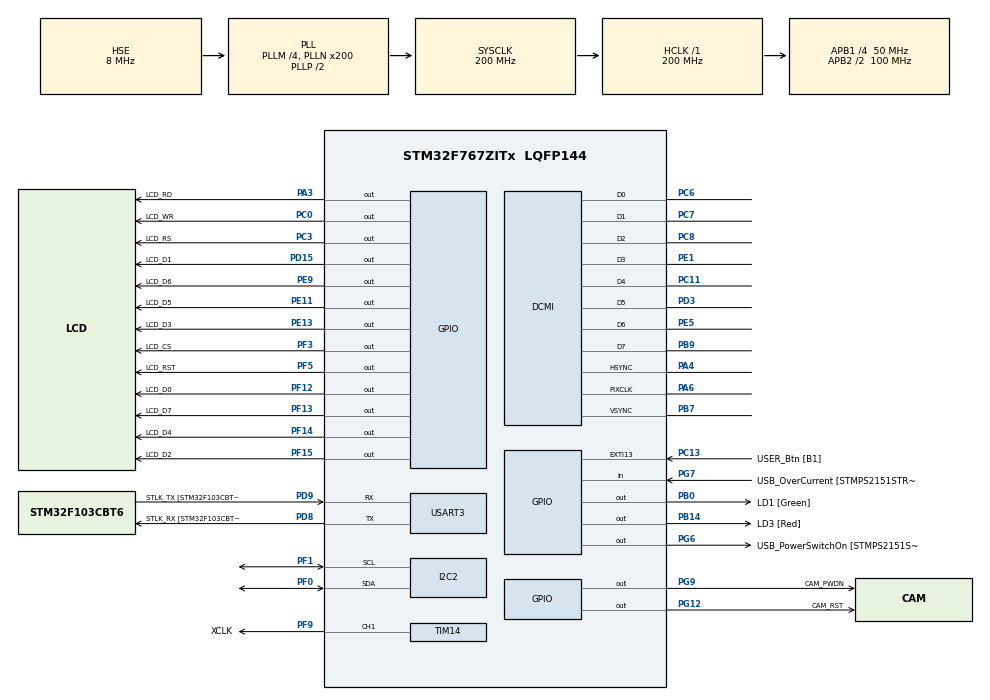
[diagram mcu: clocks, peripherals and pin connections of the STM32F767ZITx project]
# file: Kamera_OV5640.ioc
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CORTEX_M7.AccessPermission-Cortex_Memory_Protection_Unit_Region0_Settings=MPU_REGION_FULL_ACCESS
CORTEX_M7.AccessPermission-Cortex_Memory_Protection_Unit_Region1_Settings=MPU_REGION_FULL_ACCESS
CORTEX_M7.BaseAddress-Cortex_Memory_Protection_Unit_Region0_Settings=0x20040000
CORTEX_M7.BaseAddress-Cortex_Memory_Protection_Unit_Region1_Settings=0x20040000
CORTEX_M7.CPU_DCache=Enabled
CORTEX_M7.CPU_ICache=Enabled
CORTEX_M7.DisableExec-Cortex_Memory_Protection_Unit_Region0_Settings=MPU_INSTRUCTION_ACCESS_DISABLE
CORTEX_M7.DisableExec-Cortex_Memory_Protection_Unit_Region1_Settings=MPU_INSTRUCTION_ACCESS_DISABLE
CORTEX_M7.Enable-Cortex_Memory_Protection_Unit_Region0_Settings=MPU_REGION_ENABLE
CORTEX_M7.Enable-Cortex_Memory_Protection_Unit_Region1_Settings=MPU_REGION_ENABLE
CORTEX_M7.FlashInterface=AXI_Enabled
CORTEX_M7.IsBufferable-Cortex_Memory_Protection_Unit_Region1_Settings=MPU_ACCESS_BUFFERABLE
CORTEX_M7.IsShareable-Cortex_Memory_Protection_Unit_Region1_Settings=MPU_ACCESS_SHAREABLE
CORTEX_M7.MPU_Control=MPU_PRIVILEGED_DEFAULT
CORTEX_M7.Size-Cortex_Memory_Protection_Unit_Region0_Settings=MPU_REGION_SIZE_32KB
CORTEX_M7.Size-Cortex_Memory_Protection_Unit_Region1_Settings=MPU_REGION_SIZE_256B
CORTEX_M7.TypeExtField-Cortex_Memory_Protection_Unit_Region0_Settings=MPU_TEX_LEVEL1
DCMI.HSPolarity=DCMI_HSPOLARITY_HIGH
DCMI.JPEGMode=DCMI_JPEG_DISABLE
DCMI.PCKPolarity=DCMI_PCKPOLARITY_FALLING
DCMI.VSPolarity=DCMI_VSPOLARITY_LOW
Dma.DCMI.0.Direction=DMA_PERIPH_TO_MEMORY
Dma.DCMI.0.FIFOMode=DMA_FIFOMODE_DISABLE
Dma.DCMI.0.Instance=DMA2_Stream1
Dma.DCMI.0.MemDataAlignment=DMA_MDATAALIGN_WORD
Dma.DCMI.0.MemInc=DMA_MINC_ENABLE
Dma.DCMI.0.Mode=DMA_NORMAL
Dma.DCMI.0.PeriphDataAlignment=DMA_PDATAALIGN_WORD
Dma.DCMI.0.PeriphInc=DMA_PINC_DISABLE
Dma.DCMI.0.Priority=DMA_PRIORITY_LOW
Dma.Request0=DCMI
FREERTOS.Tasks01=defaultTask,0,128,StartDefaultTask,Default,NULL,Dynamic,NULL,NULL
FREERTOS.configUSE_NEWLIB_REENTRANT=1
I2C2.Timing=0x00C0EAFF
Mcu.Family=STM32F7
Mcu.Name=STM32F767ZITx
Mcu.Package=LQFP144
NVIC.DCMI_IRQn=true\:5\:0\:false\:false\:true\:true\:true\:true\:true
NVIC.DMA2_Stream1_IRQn=true\:5\:0\:false\:false\:true\:true\:false\:true\:true
NVIC.EXTI15_10_IRQn=true\:5\:0\:false\:false\:true\:true\:true\:true\:true
NVIC.PriorityGroup=NVIC_PRIORITYGROUP_4
NVIC.TIM6_DAC_IRQn=true\:15\:0\:false\:false\:true\:false\:false\:true\:true
NVIC.TimeBase=TIM6_DAC_IRQn
NVIC.TimeBaseIP=TIM6
PA1.GPIO_Label=RMII_REF_CLK [LAN8742A-CZ-TR_REFCLK0]
PA1.Signal=ETH_REF_CLK
PA10.GPIO_Label=USB_ID
PA10.Signal=USB_OTG_FS_ID
PA11.GPIO_Label=USB_DM
PA11.Signal=USB_OTG_FS_DM
PA12.GPIO_Label=USB_DP
PA12.Signal=USB_OTG_FS_DP
PA13.GPIO_Label=TMS
PA13.Mode=Serial_Wire
PA13.Signal=SYS_JTMS-SWDIO
PA14.GPIO_Label=TCK
PA14.Mode=Serial_Wire
PA14.Signal=SYS_JTCK-SWCLK
PA2.GPIO_Label=RMII_MDIO [LAN8742A-CZ-TR_MDIO]
PA2.Signal=ETH_MDIO
PA3.GPIO_Label=LCD_RD
PA3.Signal=GPIO_Output
PA4.GPIO_PuPd=GPIO_PULLUP
PA4.GPIO_Speed=GPIO_SPEED_FREQ_HIGH
PA4.Mode=Slave_8_bits_External_Synchro
PA4.Signal=DCMI_HSYNC
PA6.GPIO_PuPd=GPIO_PULLUP
PA6.GPIO_Speed=GPIO_SPEED_FREQ_HIGH
PA6.Mode=Slave_8_bits_External_Synchro
PA6.Signal=DCMI_PIXCLK
PA7.GPIO_Label=RMII_CRS_DV [LAN8742A-CZ-TR_CRS_DV]
PA7.Signal=ETH_CRS_DV
PA8.GPIO_Label=USB_SOF [TP1]
PA8.Signal=USB_OTG_FS_SOF
PA9.GPIO_Label=USB_VBUS
PA9.Signal=USB_OTG_FS_VBUS
PB0.GPIO_Label=LD1 [Green]
PB0.Signal=GPIO_Output
PB13.GPIO_Label=RMII_TXD1 [LAN8742A-CZ-TR_TXD1]
PB13.Signal=ETH_TXD1
PB14.GPIO_Label=LD3 [Red]
PB14.Signal=GPIO_Output
PB3.GPIO_Label=SWO
PB3.Signal=SYS_JTDO-SWO
PB7.GPIO_PuPd=GPIO_PULLUP
PB7.GPIO_Speed=GPIO_SPEED_FREQ_HIGH
PB7.Mode=Slave_8_bits_External_Synchro
PB7.Signal=DCMI_VSYNC
PB9.GPIO_PuPd=GPIO_PULLUP
PB9.GPIO_Speed=GPIO_SPEED_FREQ_HIGH
PB9.Mode=Slave_8_bits_External_Synchro
PB9.Signal=DCMI_D7
PC0.GPIO_Label=LCD_WR
PC0.Signal=GPIO_Output
PC1.GPIO_Label=RMII_MDC [LAN8742A-CZ-TR_MDC]
PC1.Signal=ETH_MDC
PC11.GPIO_PuPd=GPIO_PULLUP
PC11.GPIO_Speed=GPIO_SPEED_FREQ_HIGH
PC11.Mode=Slave_8_bits_External_Synchro
PC11.Signal=DCMI_D4
PC13.GPIO_Label=USER_Btn [B1]
PC13.GPIO_ModeDefaultEXTI=GPIO_MODE_IT_FALLING
PC13.Signal=GPXTI13
PC14/OSC32_IN.Mode=LSE-External-Oscillator
PC14/OSC32_IN.Signal=RCC_OSC32_IN
PC15/OSC32_OUT.Mode=LSE-External-Oscillator
PC15/OSC32_OUT.Signal=RCC_OSC32_OUT
PC3.GPIO_Label=LCD_RS
PC3.Signal=GPIO_Output
PC4.GPIO_Label=RMII_RXD0 [LAN8742A-CZ-TR_RXD0]
PC4.Signal=ETH_RXD0
PC5.GPIO_Label=RMII_RXD1 [LAN8742A-CZ-TR_RXD1]
PC5.Signal=ETH_RXD1
PC6.GPIO_PuPd=GPIO_PULLUP
PC6.GPIO_Speed=GPIO_SPEED_FREQ_HIGH
PC6.Mode=Slave_8_bits_External_Synchro
PC6.Signal=DCMI_D0
PC7.GPIO_PuPd=GPIO_PULLUP
PC7.GPIO_Speed=GPIO_SPEED_FREQ_HIGH
PC7.Mode=Slave_8_bits_External_Synchro
PC7.Signal=DCMI_D1
PC8.GPIO_PuPd=GPIO_PULLUP
PC8.GPIO_Speed=GPIO_SPEED_FREQ_HIGH
PC8.Mode=Slave_8_bits_External_Synchro
PC8.Signal=DCMI_D2
PD15.GPIO_Label=LCD_D1
PD15.Signal=GPIO_Output
PD3.GPIO_PuPd=GPIO_PULLUP
PD3.GPIO_Speed=GPIO_SPEED_FREQ_HIGH
PD3.Mode=Slave_8_bits_External_Synchro
PD3.Signal=DCMI_D5
PD8.GPIO_Label=STLK_RX [STM32F103CBT6_PA3]
PD8.Mode=Asynchronous
PD8.Signal=USART3_TX
PD9.GPIO_Label=STLK_TX [STM32F103CBT6_PA2]
PD9.Mode=Asynchronous
PD9.Signal=USART3_RX
PE1.GPIO_PuPd=GPIO_PULLUP
PE1.GPIO_Speed=GPIO_SPEED_FREQ_HIGH
PE1.Mode=Slave_8_bits_External_Synchro
PE1.Signal=DCMI_D3
PE11.GPIO_Label=LCD_D5
PE11.Signal=GPIO_Output
PE13.GPIO_Label=LCD_D3
PE13.Signal=GPIO_Output
PE5.GPIO_PuPd=GPIO_PULLUP
PE5.GPIO_Speed=GPIO_SPEED_FREQ_HIGH
PE5.Mode=Slave_8_bits_External_Synchro
PE5.Signal=DCMI_D6
PE9.GPIO_Label=LCD_D6
PE9.Signal=GPIO_Output
PF0.Mode=I2C
PF0.Signal=I2C2_SDA
PF1.Mode=I2C
PF1.Signal=I2C2_SCL
PF12.GPIO_Label=LCD_D0
PF12.Signal=GPIO_Output
PF13.GPIO_Label=LCD_D7
PF13.Signal=GPIO_Output
PF14.GPIO_Label=LCD_D4
PF14.Signal=GPIO_Output
PF15.GPIO_Label=LCD_D2
PF15.Signal=GPIO_Output
PF3.GPIO_Label=LCD_CS
PF3.Signal=GPIO_Output
PF5.GPIO_Label=LCD_RST
PF5.Signal=GPIO_Output
PF9.GPIO_Label=XCLK
PF9.GPIO_Speed=GPIO_SPEED_FREQ_HIGH
PF9.Signal=S_TIM14_CH1
PG11.GPIO_Label=RMII_TX_EN [LAN8742A-CZ-TR_TXEN]
PG11.Signal=ETH_TX_EN
PG12.GPIO_Label=CAM_RST
PG12.Signal=GPIO_Output
PG13.GPIO_Label=RMII_TXD0 [LAN8742A-CZ-TR_TXD0]
PG13.Signal=ETH_TXD0
PG6.GPIO_Label=USB_PowerSwitchOn [STMPS2151STR_EN]
PG6.Signal=GPIO_Output
PG7.GPIO_Label=USB_OverCurrent [STMPS2151STR_FAULT]
PG7.Signal=GPIO_Input
PG9.GPIO_Label=CAM_PWDN
PG9.Signal=GPIO_Output
PH0/OSC_IN.GPIO_Label=MCO [STM32F103CBT6_PA8]
PH0/OSC_IN.Mode=HSE-External-Clock-Source
PH0/OSC_IN.Signal=RCC_OSC_IN
PH1/OSC_OUT.Mode=HSE-External-Clock-Source
PH1/OSC_OUT.Signal=RCC_OSC_OUT
ProjectManager.HeapSize=0x800
ProjectManager.StackSize=0x800
ProjectManager.TargetToolchain=STM32CubeIDE
RCC.48MHZClocksFreq_Value=24000000
RCC.AHBFreq_Value=200000000
RCC.APB1CLKDivider=RCC_HCLK_DIV4
RCC.APB1Freq_Value=50000000
RCC.APB1TimFreq_Value=100000000
RCC.APB2CLKDivider=RCC_HCLK_DIV2
RCC.APB2Freq_Value=100000000
RCC.APB2TimFreq_Value=200000000
RCC.CortexFreq_Value=200000000
RCC.HCLKFreq_Value=200000000
RCC.HSE_VALUE=8000000
RCC.HSI_VALUE=16000000
RCC.PLLM=4
RCC.PLLMUL=RCC_PLL_MUL9
RCC.PLLN=200
RCC.PLLQ=9
RCC.PLLSourceVirtual=RCC_PLLSOURCE_HSE
RCC.PRESCALERUSB=RCC_USBCLKSOURCE_PLL_DIV1_5
RCC.SYSCLKFreq_VALUE=200000000
RCC.SYSCLKSource=RCC_SYSCLKSOURCE_PLLCLK
RCC.SYSCLKSourceVirtual=RCC_SYSCLKSOURCE_PLLCLK
RCC.USBFreq_Value=44444444.44444445
RCC.VCOOutputFreq_Value=400000000
SH.S_TIM14_CH1.0=TIM14_CH1,PWM Generation1 CH1
TIM14.Channel=TIM_CHANNEL_1
USART3.VirtualMode-Asynchronous=VM_ASYNC
VP_FREERTOS_VS_CMSIS_V1.Mode=CMSIS_V1
VP_SYS_VS_tim6.Mode=TIM6
VP_TIM14_VS_ClockSourceINT.Mode=Enable_Timer
board=NUCLEO-F767ZI

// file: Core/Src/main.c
/* USER CODE BEGIN Header */
//////////////////////////////////////////////////////////////////////////////
//
// Kamera OV5640
// Moduł pętli głównej
//
// (c) PitLab 2024
// http://www.pitlab.pl
//////////////////////////////////////////////////////////////////////////////
/* USER CODE END Header */
#include "main.h"
#include "cmsis_os.h"

/* USER CODE BEGIN Includes */
#include "display.h"
#include "errcode.h"
/* USER CODE END Includes */

DCMI_HandleTypeDef hdcmi;
DMA_HandleTypeDef hdma_dcmi;

I2C_HandleTypeDef hi2c2;

TIM_HandleTypeDef htim14;

UART_HandleTypeDef huart3;

osThreadId defaultTaskHandle;
/* USER CODE BEGIN PV */
uint8_t chTrybPracy = TP_MENU;
uint8_t chPozycjaMenu = -1;
uint16_t sMenuTimer = 3000;
uint8_t chStanPrzycisku = BUTTON_PRESSED;
volatile uint8_t chTimerDrganiaStykow;
uint16_t sSzerokoscKamery = 21;
/* USER CODE END PV */

void SystemClock_Config(void);
static void MPU_Config(void);
static void MX_GPIO_Init(void);
static void MX_DMA_Init(void);
static void MX_I2C2_Init(void);
static void MX_TIM14_Init(void);
static void MX_USART3_UART_Init(void);
static void MX_DCMI_Init(void);
void StartDefaultTask(void const * argument);

int main(void)
{

  /* MPU Configuration--------------------------------------------------------*/
  //MPU_Config();

  /* Enable the CPU Cache */

  /* Enable I-Cache---------------------------------------------------------*/
  SCB_EnableICache();

  /* Enable D-Cache---------------------------------------------------------*/
  SCB_EnableDCache();

  /* MCU Configuration--------------------------------------------------------*/

  /* Reset of all peripherals, Initializes the Flash interface and the Systick. */
  HAL_Init();

  /* Configure the system clock */
  SystemClock_Config();

  /* Initialize all configured peripherals */
  MX_GPIO_Init();
  MX_DMA_Init();
  MX_I2C2_Init();
  MX_TIM14_Init();
  MX_USART3_UART_Init();
  MX_DCMI_Init();

  /* Create the thread(s) */
  /* definition and creation of defaultTask */
  osThreadDef(defaultTask, StartDefaultTask, osPriorityNormal, 0, 128);
  defaultTaskHandle = osThreadCreate(osThread(defaultTask), NULL);

  /* Start scheduler */
  osKernelStart();

  /* We should never get here as control is now taken by the scheduler */

  /* Infinite loop */
  while (1)
  {

  }
}

void SystemClock_Config(void)
{
  RCC_OscInitTypeDef RCC_OscInitStruct = {0};
  RCC_ClkInitTypeDef RCC_ClkInitStruct = {0};

  /** Configure LSE Drive Capability
  */
  HAL_PWR_EnableBkUpAccess();

  /** Configure the main internal regulator output voltage
  */
  __HAL_RCC_PWR_CLK_ENABLE();
  __HAL_PWR_VOLTAGESCALING_CONFIG(PWR_REGULATOR_VOLTAGE_SCALE1);

  /** Initializes the RCC Oscillators according to the specified parameters
  * in the RCC_OscInitTypeDef structure.
  */
  RCC_OscInitStruct.OscillatorType = RCC_OSCILLATORTYPE_HSE;
  RCC_OscInitStruct.HSEState = RCC_HSE_BYPASS;
  RCC_OscInitStruct.PLL.PLLState = RCC_PLL_ON;
  RCC_OscInitStruct.PLL.PLLSource = RCC_PLLSOURCE_HSE;
  RCC_OscInitStruct.PLL.PLLM = 4;
  RCC_OscInitStruct.PLL.PLLN = 200;
  RCC_OscInitStruct.PLL.PLLP = RCC_PLLP_DIV2;
  RCC_OscInitStruct.PLL.PLLQ = 9;
  RCC_OscInitStruct.PLL.PLLR = 2;
  if (HAL_RCC_OscConfig(&RCC_OscInitStruct) != HAL_OK)
  {
    Error_Handler();
  }

  /** Activate the Over-Drive mode
  */
  if (HAL_PWREx_EnableOverDrive() != HAL_OK)
  {
    Error_Handler();
  }

  /** Initializes the CPU, AHB and APB buses clocks
  */
  RCC_ClkInitStruct.ClockType = RCC_CLOCKTYPE_HCLK|RCC_CLOCKTYPE_SYSCLK
                              |RCC_CLOCKTYPE_PCLK1|RCC_CLOCKTYPE_PCLK2;
  RCC_ClkInitStruct.SYSCLKSource = RCC_SYSCLKSOURCE_PLLCLK;
  RCC_ClkInitStruct.AHBCLKDivider = RCC_SYSCLK_DIV1;
  RCC_ClkInitStruct.APB1CLKDivider = RCC_HCLK_DIV4;
  RCC_ClkInitStruct.APB2CLKDivider = RCC_HCLK_DIV2;

  if (HAL_RCC_ClockConfig(&RCC_ClkInitStruct, FLASH_LATENCY_6) != HAL_OK)
  {
    Error_Handler();
  }
}

static void MX_DCMI_Init(void)
{

  hdcmi.Instance = DCMI;
  hdcmi.Init.SynchroMode = DCMI_SYNCHRO_HARDWARE;
  hdcmi.Init.PCKPolarity = DCMI_PCKPOLARITY_FALLING;
  hdcmi.Init.VSPolarity = DCMI_VSPOLARITY_LOW;
  hdcmi.Init.HSPolarity = DCMI_HSPOLARITY_HIGH;
  hdcmi.Init.CaptureRate = DCMI_CR_ALL_FRAME;
  hdcmi.Init.ExtendedDataMode = DCMI_EXTEND_DATA_8B;
  hdcmi.Init.JPEGMode = DCMI_JPEG_DISABLE;
  hdcmi.Init.ByteSelectMode = DCMI_BSM_ALL;
  hdcmi.Init.ByteSelectStart = DCMI_OEBS_ODD;
  hdcmi.Init.LineSelectMode = DCMI_LSM_ALL;
  hdcmi.Init.LineSelectStart = DCMI_OELS_ODD;
  if (HAL_DCMI_Init(&hdcmi) != HAL_OK)
  {
    Error_Handler();
  }

}

static void MX_I2C2_Init(void)
{

  hi2c2.Instance = I2C2;
  hi2c2.Init.Timing = 0x00C0EAFF;
  hi2c2.Init.OwnAddress1 = 0;
  hi2c2.Init.AddressingMode = I2C_ADDRESSINGMODE_7BIT;
  hi2c2.Init.DualAddressMode = I2C_DUALADDRESS_DISABLE;
  hi2c2.Init.OwnAddress2 = 0;
  hi2c2.Init.OwnAddress2Masks = I2C_OA2_NOMASK;
  hi2c2.Init.GeneralCallMode = I2C_GENERALCALL_DISABLE;
  hi2c2.Init.NoStretchMode = I2C_NOSTRETCH_DISABLE;
  if (HAL_I2C_Init(&hi2c2) != HAL_OK)
  {
    Error_Handler();
  }

  /** Configure Analogue filter
  */
  if (HAL_I2CEx_ConfigAnalogFilter(&hi2c2, I2C_ANALOGFILTER_ENABLE) != HAL_OK)
  {
    Error_Handler();
  }

  /** Configure Digital filter
  */
  if (HAL_I2CEx_ConfigDigitalFilter(&hi2c2, 0) != HAL_OK)
  {
    Error_Handler();
  }

}

static void MX_TIM14_Init(void)
{

  TIM_OC_InitTypeDef sConfigOC = {0};

  htim14.Instance = TIM14;
  htim14.Init.Prescaler = 0;
  htim14.Init.CounterMode = TIM_COUNTERMODE_UP;
  htim14.Init.Period = 65535;
  htim14.Init.ClockDivision = TIM_CLOCKDIVISION_DIV1;
  htim14.Init.AutoReloadPreload = TIM_AUTORELOAD_PRELOAD_DISABLE;
  if (HAL_TIM_Base_Init(&htim14) != HAL_OK)
  {
    Error_Handler();
  }
  if (HAL_TIM_PWM_Init(&htim14) != HAL_OK)
  {
    Error_Handler();
  }
  sConfigOC.OCMode = TIM_OCMODE_PWM1;
  sConfigOC.Pulse = 0;
  sConfigOC.OCPolarity = TIM_OCPOLARITY_HIGH;
  sConfigOC.OCFastMode = TIM_OCFAST_DISABLE;
  if (HAL_TIM_PWM_ConfigChannel(&htim14, &sConfigOC, TIM_CHANNEL_1) != HAL_OK)
  {
    Error_Handler();
  }
  HAL_TIM_MspPostInit(&htim14);

}

static void MX_USART3_UART_Init(void)
{

  huart3.Instance = USART3;
  huart3.Init.BaudRate = 115200;
  huart3.Init.WordLength = UART_WORDLENGTH_8B;
  huart3.Init.StopBits = UART_STOPBITS_1;
  huart3.Init.Parity = UART_PARITY_NONE;
  huart3.Init.Mode = UART_MODE_TX_RX;
  huart3.Init.HwFlowCtl = UART_HWCONTROL_NONE;
  huart3.Init.OverSampling = UART_OVERSAMPLING_16;
  huart3.Init.OneBitSampling = UART_ONE_BIT_SAMPLE_DISABLE;
  huart3.AdvancedInit.AdvFeatureInit = UART_ADVFEATURE_NO_INIT;
  if (HAL_UART_Init(&huart3) != HAL_OK)
  {
    Error_Handler();
  }

}

static void MX_DMA_Init(void)
{

  /* DMA controller clock enable */
  __HAL_RCC_DMA2_CLK_ENABLE();

  /* DMA interrupt init */
  /* DMA2_Stream1_IRQn interrupt configuration */
  HAL_NVIC_SetPriority(DMA2_Stream1_IRQn, 5, 0);
  HAL_NVIC_EnableIRQ(DMA2_Stream1_IRQn);

}

static void MX_GPIO_Init(void)
{
  GPIO_InitTypeDef GPIO_InitStruct = {0};

  /* GPIO Ports Clock Enable */
  __HAL_RCC_GPIOE_CLK_ENABLE();
  __HAL_RCC_GPIOC_CLK_ENABLE();
  __HAL_RCC_GPIOF_CLK_ENABLE();
  __HAL_RCC_GPIOH_CLK_ENABLE();
  __HAL_RCC_GPIOA_CLK_ENABLE();
  __HAL_RCC_GPIOB_CLK_ENABLE();
  __HAL_RCC_GPIOD_CLK_ENABLE();
  __HAL_RCC_GPIOG_CLK_ENABLE();

  /*Configure GPIO pin Output Level */
  HAL_GPIO_WritePin(GPIOF, LCD_CS_Pin|LCD_RST_Pin|LCD_D0_Pin|LCD_D7_Pin
                          |LCD_D4_Pin|LCD_D2_Pin, GPIO_PIN_RESET);

  /*Configure GPIO pin Output Level */
  HAL_GPIO_WritePin(GPIOC, LCD_WR_Pin|LCD_RS_Pin, GPIO_PIN_RESET);

  /*Configure GPIO pin Output Level */
  HAL_GPIO_WritePin(LCD_RD_GPIO_Port, LCD_RD_Pin, GPIO_PIN_RESET);

  /*Configure GPIO pin Output Level */
  HAL_GPIO_WritePin(GPIOB, LD1_Pin|LD3_Pin, GPIO_PIN_RESET);

  /*Configure GPIO pin Output Level */
  HAL_GPIO_WritePin(GPIOE, LCD_D6_Pin|LCD_D5_Pin|LCD_D3_Pin, GPIO_PIN_RESET);

  /*Configure GPIO pin Output Level */
  HAL_GPIO_WritePin(LCD_D1_GPIO_Port, LCD_D1_Pin, GPIO_PIN_RESET);

  /*Configure GPIO pin Output Level */
  HAL_GPIO_WritePin(GPIOG, USB_PowerSwitchOn_Pin|CAM_PWDN_Pin|CAM_RST_Pin, GPIO_PIN_RESET);

  /*Configure GPIO pin : USER_Btn_Pin */
  GPIO_InitStruct.Pin = USER_Btn_Pin;
  GPIO_InitStruct.Mode = GPIO_MODE_IT_FALLING;
  GPIO_InitStruct.Pull = GPIO_NOPULL;
  HAL_GPIO_Init(USER_Btn_GPIO_Port, &GPIO_InitStruct);

  /*Configure GPIO pins : LCD_CS_Pin LCD_RST_Pin LCD_D0_Pin LCD_D7_Pin
                           LCD_D4_Pin LCD_D2_Pin */
  GPIO_InitStruct.Pin = LCD_CS_Pin|LCD_RST_Pin|LCD_D0_Pin|LCD_D7_Pin
                          |LCD_D4_Pin|LCD_D2_Pin;
  GPIO_InitStruct.Mode = GPIO_MODE_OUTPUT_PP;
  GPIO_InitStruct.Pull = GPIO_NOPULL;
  GPIO_InitStruct.Speed = GPIO_SPEED_FREQ_LOW;
  HAL_GPIO_Init(GPIOF, &GPIO_InitStruct);

  /*Configure GPIO pins : LCD_WR_Pin LCD_RS_Pin */
  GPIO_InitStruct.Pin = LCD_WR_Pin|LCD_RS_Pin;
  GPIO_InitStruct.Mode = GPIO_MODE_OUTPUT_PP;
  GPIO_InitStruct.Pull = GPIO_NOPULL;
  GPIO_InitStruct.Speed = GPIO_SPEED_FREQ_LOW;
  HAL_GPIO_Init(GPIOC, &GPIO_InitStruct);

  /*Configure GPIO pins : RMII_MDC_Pin RMII_RXD0_Pin RMII_RXD1_Pin */
  GPIO_InitStruct.Pin = RMII_MDC_Pin|RMII_RXD0_Pin|RMII_RXD1_Pin;
  GPIO_InitStruct.Mode = GPIO_MODE_AF_PP;
  GPIO_InitStruct.Pull = GPIO_NOPULL;
  GPIO_InitStruct.Speed = GPIO_SPEED_FREQ_VERY_HIGH;
  GPIO_InitStruct.Alternate = GPIO_AF11_ETH;
  HAL_GPIO_Init(GPIOC, &GPIO_InitStruct);

  /*Configure GPIO pins : RMII_REF_CLK_Pin RMII_MDIO_Pin RMII_CRS_DV_Pin */
  GPIO_InitStruct.Pin = RMII_REF_CLK_Pin|RMII_MDIO_Pin|RMII_CRS_DV_Pin;
  GPIO_InitStruct.Mode = GPIO_MODE_AF_PP;
  GPIO_InitStruct.Pull = GPIO_NOPULL;
  GPIO_InitStruct.Speed = GPIO_SPEED_FREQ_VERY_HIGH;
  GPIO_InitStruct.Alternate = GPIO_AF11_ETH;
  HAL_GPIO_Init(GPIOA, &GPIO_InitStruct);

  /*Configure GPIO pin : LCD_RD_Pin */
  GPIO_InitStruct.Pin = LCD_RD_Pin;
  GPIO_InitStruct.Mode = GPIO_MODE_OUTPUT_PP;
  GPIO_InitStruct.Pull = GPIO_NOPULL;
  GPIO_InitStruct.Speed = GPIO_SPEED_FREQ_LOW;
  HAL_GPIO_Init(LCD_RD_GPIO_Port, &GPIO_InitStruct);

  /*Configure GPIO pins : LD1_Pin LD3_Pin */
  GPIO_InitStruct.Pin = LD1_Pin|LD3_Pin;
  GPIO_InitStruct.Mode = GPIO_MODE_OUTPUT_PP;
  GPIO_InitStruct.Pull = GPIO_NOPULL;
  GPIO_InitStruct.Speed = GPIO_SPEED_FREQ_LOW;
  HAL_GPIO_Init(GPIOB, &GPIO_InitStruct);

  /*Configure GPIO pins : LCD_D6_Pin LCD_D5_Pin LCD_D3_Pin */
  GPIO_InitStruct.Pin = LCD_D6_Pin|LCD_D5_Pin|LCD_D3_Pin;
  GPIO_InitStruct.Mode = GPIO_MODE_OUTPUT_PP;
  GPIO_InitStruct.Pull = GPIO_NOPULL;
  GPIO_InitStruct.Speed = GPIO_SPEED_FREQ_LOW;
  HAL_GPIO_Init(GPIOE, &GPIO_InitStruct);

  /*Configure GPIO pin : RMII_TXD1_Pin */
  GPIO_InitStruct.Pin = RMII_TXD1_Pin;
  GPIO_InitStruct.Mode = GPIO_MODE_AF_PP;
  GPIO_InitStruct.Pull = GPIO_NOPULL;
  GPIO_InitStruct.Speed = GPIO_SPEED_FREQ_VERY_HIGH;
  GPIO_InitStruct.Alternate = GPIO_AF11_ETH;
  HAL_GPIO_Init(RMII_TXD1_GPIO_Port, &GPIO_InitStruct);

  /*Configure GPIO pin : LCD_D1_Pin */
  GPIO_InitStruct.Pin = LCD_D1_Pin;
  GPIO_InitStruct.Mode = GPIO_MODE_OUTPUT_PP;
  GPIO_InitStruct.Pull = GPIO_NOPULL;
  GPIO_InitStruct.Speed = GPIO_SPEED_FREQ_LOW;
  HAL_GPIO_Init(LCD_D1_GPIO_Port, &GPIO_InitStruct);

  /*Configure GPIO pins : USB_PowerSwitchOn_Pin CAM_PWDN_Pin CAM_RST_Pin */
  GPIO_InitStruct.Pin = USB_PowerSwitchOn_Pin|CAM_PWDN_Pin|CAM_RST_Pin;
  GPIO_InitStruct.Mode = GPIO_MODE_OUTPUT_PP;
  GPIO_InitStruct.Pull = GPIO_NOPULL;
  GPIO_InitStruct.Speed = GPIO_SPEED_FREQ_LOW;
  HAL_GPIO_Init(GPIOG, &GPIO_InitStruct);

  /*Configure GPIO pin : USB_OverCurrent_Pin */
  GPIO_InitStruct.Pin = USB_OverCurrent_Pin;
  GPIO_InitStruct.Mode = GPIO_MODE_INPUT;
  GPIO_InitStruct.Pull = GPIO_NOPULL;
  HAL_GPIO_Init(USB_OverCurrent_GPIO_Port, &GPIO_InitStruct);

  /*Configure GPIO pins : USB_SOF_Pin USB_ID_Pin USB_DM_Pin USB_DP_Pin */
  GPIO_InitStruct.Pin = USB_SOF_Pin|USB_ID_Pin|USB_DM_Pin|USB_DP_Pin;
  GPIO_InitStruct.Mode = GPIO_MODE_AF_PP;
  GPIO_InitStruct.Pull = GPIO_NOPULL;
  GPIO_InitStruct.Speed = GPIO_SPEED_FREQ_VERY_HIGH;
  GPIO_InitStruct.Alternate = GPIO_AF10_OTG_FS;
  HAL_GPIO_Init(GPIOA, &GPIO_InitStruct);

  /*Configure GPIO pin : USB_VBUS_Pin */
  GPIO_InitStruct.Pin = USB_VBUS_Pin;
  GPIO_InitStruct.Mode = GPIO_MODE_INPUT;
  GPIO_InitStruct.Pull = GPIO_NOPULL;
  HAL_GPIO_Init(USB_VBUS_GPIO_Port, &GPIO_InitStruct);

  /*Configure GPIO pins : RMII_TX_EN_Pin RMII_TXD0_Pin */
  GPIO_InitStruct.Pin = RMII_TX_EN_Pin|RMII_TXD0_Pin;
  GPIO_InitStruct.Mode = GPIO_MODE_AF_PP;
  GPIO_InitStruct.Pull = GPIO_NOPULL;
  GPIO_InitStruct.Speed = GPIO_SPEED_FREQ_VERY_HIGH;
  GPIO_InitStruct.Alternate = GPIO_AF11_ETH;
  HAL_GPIO_Init(GPIOG, &GPIO_InitStruct);

  /* EXTI interrupt init*/
  HAL_NVIC_SetPriority(EXTI15_10_IRQn, 5, 0);
  HAL_NVIC_EnableIRQ(EXTI15_10_IRQn);

}

/* USER CODE BEGIN 4 */
////////////////////////////////////////////////////////////////////////////////
// Sterowanie pinem Powwer Down kamery
// Parametry: akcja do wykonania na pinie: GPIO_PIN_SET lub GPIO_PIN_RESET
// Zwraca: nic
////////////////////////////////////////////////////////////////////////////////
void KameraPWDN_Pin(uint32_t SetReset)
{
	HAL_GPIO_WritePin(CAM_PWDN_GPIO_Port, CAM_PWDN_Pin, SetReset);
}

////////////////////////////////////////////////////////////////////////////////
// Sterowanie pinem RST kamery
// Parametry: akcja do wykonania na pinie: GPIO_PIN_SET lub GPIO_PIN_RESET
// Zwraca: nic
////////////////////////////////////////////////////////////////////////////////
void KameraRST_Pin(uint32_t SetReset)
{
	HAL_GPIO_WritePin(CAM_RST_GPIO_Port, CAM_RST_Pin, SetReset);		//włącz PWND
}

////////////////////////////////////////////////////////////////////////////////
// Sterowanie pinem LEDa
// Parametry: numer LED
// Zwraca: nic
////////////////////////////////////////////////////////////////////////////////
void LED_Toggle(uint8_t LED)
{
	switch(LED)
	{
	case LED_GREEN:	HAL_GPIO_TogglePin(LD1_GPIO_Port, LD1_Pin);	break;
	case LED_RED:	HAL_GPIO_TogglePin(LD3_GPIO_Port, LD3_Pin);	break;
	case LED_BLUE:
	default:	break;
	}
}

/* USER CODE END 4 */

void StartDefaultTask(void const * argument)
{
  /* USER CODE BEGIN 5 */
	extern volatile uint8_t chObrazGotowy;
	uint8_t chErr;
	uint32_t nCzas;

	chRysujRaz = 1;
	InitDisplay();
	chErr = InitKamera();
	Menu(chPozycjaMenu);
    while (1)
    {
		//obsługa przycisku zmienna chStanPrzycisku ustawiana w przerwaniu EXTI
		if (chStanPrzycisku == BUTTON_PRESSED)
		{
			chStanPrzycisku = BUTTON_RELEASED;
			if (chTrybPracy != TP_MENU)
				chRysujRaz = 1;

			chPozycjaMenu = Menu(chPozycjaMenu);
			chTrybPracy = TP_MENU;
			sMenuTimer = 3000;	//czas w [ms]
		}

		//RysujDane("Format control", CzytajKamInit(), 220);	//wyświetla zawartość rejestru kamery

		//obsługa trybów pracy
		switch(chTrybPracy)
		{
		case TP_MENU:
			if (sMenuTimer)
				RysujMenuTimer(sMenuTimer/10);
			else
			{
				chTrybPracy = chPozycjaMenu;
				LCD_clear();
				chRysujRaz = 1;
			}
			break;

		case TP_KAMERA_RGB:
			if (chNowyObrazKamery)
			{
				drawBitmap(0, 0, 320, 240, (const unsigned short*)nBuforKamery);
				chNowyObrazKamery = 0;
				WyswietlKodBledu(chErr, 10, 220);
			}
			break;

		case TP_HIST_BIT:		//histogram bitów obrazu kamery
			chErr = CzekajNaBit(&chObrazGotowy, 1000);	//czekaj z timeoutem na zakończenie transferu DMA
			if (!chErr)
			{
				uint16_t m, pix;
				uint32_t histogram[16];

				drawBitmap(0, 0, 320, 240, (unsigned short*)nBuforKamery);	//214ms
				for (uint32_t n=0; n<320*240; n++)
				{
					pix = *((uint16_t*)nBuforKamery + n);
					for (m=0; m<16; m++)
					{
						if (pix & 0x01)
							histogram[m]++;
						pix >>= 1;
					}
				}

				//normalizacja histogramu
				for (uint8_t x=0; x<16; x++)
				{
					histogram[x] >>= 9;
					if (histogram[x] > 0xFF)
						histogram[x] = 0xFF;
				}

				//rysuj histogram na  ekranie
				setColor(GREEN);
				for (uint8_t x=0; x<16; x++)
					fillRect(x*10, 240-histogram[x], x*10+6, 240);
			}
			chObrazGotowy = 0;
			chErr = ZrobZdjecie(320, 240);
			break;

		case TP_KAM_SET1:
			chErr = InitKamera1();
			chTrybPracy = TP_KAMERA_RGB;
			break;

		case TP_KAM_SET2:
			chErr = InitKamera2();
			chTrybPracy = TP_KAMERA_RGB;
			break;

		case TP_KAM_SET3:
			chErr = InitKamera3();
			chTrybPracy = TP_KAMERA_RGB;
			break;

		case TP_KAM_CB:
			chErr = CzekajNaBit(&chObrazGotowy, 10000);	//czekaj z timeoutem na zakończenie transferu DMA
			if (!chErr)
			{
				nCzas = HAL_GetTick();
				KonwersjaRGB565doCB7((uint16_t*)nBuforKamery, chBuforCB, ROZM_BUF_CB);
				nCzas = MinalCzas(nCzas);
				KonwersjaCB7doRGB565(chBuforCB, (uint16_t*)nBuforKamery, ROZM_BUF_CB);
				drawBitmap(0, 0, 320, 240, (uint16_t*)nBuforKamery);
				WyswietlDane32("t", nCzas, 220);
			}
			chObrazGotowy = 0;
			chErr = ZrobZdjecie(320, 240);
			break;

		case TP_DET_KRAW:
			chErr = CzekajNaBit(&chObrazGotowy, 10000);	//czekaj z timeoutem na zakończenie transferu DMA
			if (!chErr)
			{
				KonwersjaRGB565doCB7((uint16_t*)nBuforKamery, chBuforCB, ROZM_BUF_CB);
				nCzas = HAL_GetTick();
				DetekcjaKrawedziRoberts(chBuforCB, chBuforCKraw,  320,  240, 32);
				nCzas = MinalCzas(nCzas);
				KonwersjaCB7doRGB565(chBuforCKraw, (uint16_t*)nBuforKamery, ROZM_BUF_CB);
				drawBitmap(0, 0, 320, 240, (uint16_t*)nBuforKamery);
				WyswietlDane32("t", nCzas, 220);
			}
			chObrazGotowy = 0;
			chErr = ZrobZdjecie(320, 240);
			break;

		case TP_FRAKTAL:	FraktalDemo();		break;
		case TP_POMOC:		WyswietlPomoc();	break;
		default:			break;
		}
    }

  /* USER CODE END 5 */
}

 /* MPU Configuration */

void MPU_Config(void)
{
  MPU_Region_InitTypeDef MPU_InitStruct = {0};

  /* Disables the MPU */
  HAL_MPU_Disable();

  /** Initializes and configures the Region and the memory to be protected
  */
  MPU_InitStruct.Enable = MPU_REGION_ENABLE;
  MPU_InitStruct.Number = MPU_REGION_NUMBER0;
  MPU_InitStruct.BaseAddress = 0x20040000;
  MPU_InitStruct.Size = MPU_REGION_SIZE_32KB;
  MPU_InitStruct.SubRegionDisable = 0x0;
  MPU_InitStruct.TypeExtField = MPU_TEX_LEVEL1;
  MPU_InitStruct.AccessPermission = MPU_REGION_FULL_ACCESS;
  MPU_InitStruct.DisableExec = MPU_INSTRUCTION_ACCESS_DISABLE;
  MPU_InitStruct.IsShareable = MPU_ACCESS_NOT_SHAREABLE;
  MPU_InitStruct.IsCacheable = MPU_ACCESS_NOT_CACHEABLE;
  MPU_InitStruct.IsBufferable = MPU_ACCESS_NOT_BUFFERABLE;

  HAL_MPU_ConfigRegion(&MPU_InitStruct);

  /** Initializes and configures the Region and the memory to be protected
  */
  MPU_InitStruct.Number = MPU_REGION_NUMBER1;
  MPU_InitStruct.Size = MPU_REGION_SIZE_256B;
  MPU_InitStruct.TypeExtField = MPU_TEX_LEVEL0;
  MPU_InitStruct.IsShareable = MPU_ACCESS_SHAREABLE;
  MPU_InitStruct.IsBufferable = MPU_ACCESS_BUFFERABLE;

  HAL_MPU_ConfigRegion(&MPU_InitStruct);
  /* Enables the MPU */
  HAL_MPU_Enable(MPU_PRIVILEGED_DEFAULT);

}

void HAL_TIM_PeriodElapsedCallback(TIM_HandleTypeDef *htim)
{
  if (htim->Instance == TIM6) {
    HAL_IncTick();
  }
}

void Error_Handler(void)
{
  __disable_irq();
  while (1)
  {
  }
}
